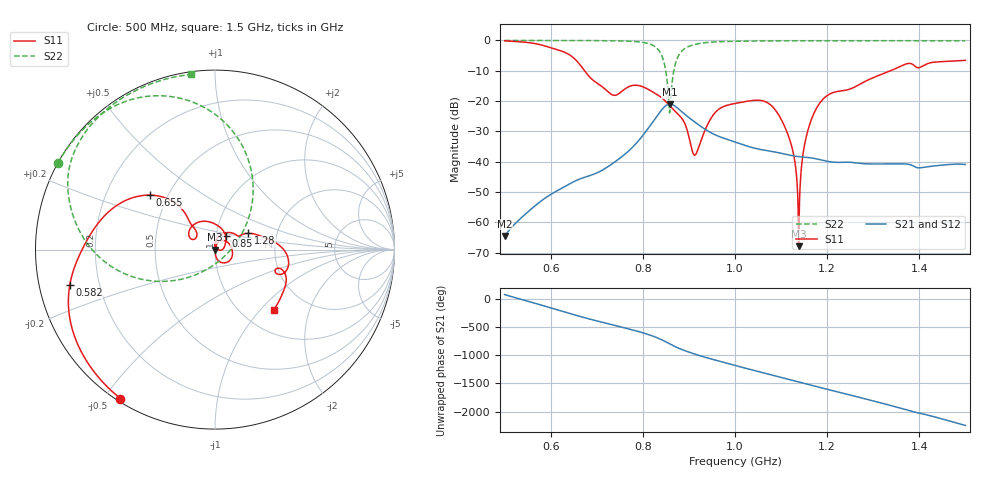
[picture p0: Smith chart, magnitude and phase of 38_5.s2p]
! TOUCHSTONE file generated by CST MICROWAVE STUDIO
! Date and time: Mon Oct 26 12:28:48 2020
! Project name: Scenario_1_Circular_Tissue_out_of_Line.cst
! Parameters = {dy1=295.617; L_HA=400; MT=2.54; Rad_Dielectric=30; Rad_Lower=7.3; Rad_Upper=30; a_HA=580; a_WG=246; b_HA=500; b_WG=121; c_HA=0; c_WG=187; d_feed=85; dx1=866; h_feed=15; h_lower=18; h_upper=40}
! Header version: 2018
! Port assignment regex: !\s*Touchstone port\s*([0-9]+)\s*=\s*(CST MWS port|CST DS port)\s*([0-9]+|Zmin|Zmax)\s*\(\"(.*)\"\)(\s*mode\s*([0-9]+))?.*
! Touchstone port assignment:
! Touchstone port 1 = CST MWS port 1 ("")
! Touchstone port 2 = CST MWS port 2 ("")
# GHz S DB R 50
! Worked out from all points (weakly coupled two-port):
!   1001 points, 500 MHz to 1.5 GHz, reference 50 ohm
!   highest |S21| = -21.01 dB at 859 MHz (marker M1); lowest = -64.5 dB at 500 MHz (marker M2)
!   lowest |S11| = -67.9 dB at 1.138 GHz (marker M3), VSWR 1.00, Z = 50 - j0.0375 ohm
!   |S11| at or under -10 dB: 673.6 MHz to 1.338 GHz (664.3 MHz wide, 66.1 % of centre)
!   |S22| runs from -23.9 to 0.0 dB; largest |S21 - S12| = 1.9e-05
!   S11 on the Smith chart (normalised r, x): 500 MHz: 0.01, -0.55; 582 MHz: 0.09, -0.12; 655 MHz: 0.40, +0.31; 850 MHz: 1.11, +0.17; 1.28 GHz: 1.43, +0.27; 1.5 GHz: 1.38, -1.19
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0.5  -0.15 -122.4  -64.48 80.4  -64.48 80.4  -0.01 151.1
0.582  -1.58 -166.2  -52.63 -113.4  -52.63 -113.4  -0.02 145.5
0.655  -6.51 140.0  -46.24 71.9  -46.24 71.9  -0.04 139.5
0.667  -8.67 131.9  -45.48 43.5  -45.48 43.5  -0.04 138.4
0.734  -17.97 143.4  -40.63 -96.4  -40.63 -96.4  -0.12 130.3
0.779  -14.82 138.4  -35.02 168.8  -35.02 168.8  -0.33 120.7
0.834  -18.16 74.1  -24.25 21.9  -24.25 21.9  -3.15 84.2
0.85  -20.21 53.0  -21.51 -40.5  -21.51 -40.5  -10.25 48.8
0.859  -21.67 42.5  -21.01 -79.8  -21.01 -79.8  -23.15 -74.6
0.877  -24.43 22.9  -22.52 -151.4  -22.52 -151.4  -5.16 -167.8
0.913  -37.84 34.3  -26.95 101.4  -26.95 101.4  -1.32 161.2
0.955  -24.15 54.8  -31.00 0.8  -31.00 0.8  -0.50 148.0
1  -20.79 7.6  -33.48 -99.2  -33.48 -99.2  -0.28 140.3
1.091  -23.66 -72.6  -36.92 66.9  -36.92 66.9  -0.13 130.6
1.123  -34.91 -83.7  -37.97 -0.7  -37.97 -0.7  -0.11 127.8
1.138  -67.86 -67.8  -38.31 -31.6  -38.31 -31.6  -0.10 126.5
1.151  -34.41 94.6  -38.50 -58.8  -38.50 -58.8  -0.10 125.5
1.167  -25.61 83.8  -38.78 -93.4  -38.78 -93.4  -0.10 124.2
1.2  -18.20 50.8  -39.86 -162.9  -39.86 -162.9  -0.09 121.7
1.28  -13.70 26.0  -40.66 31.6  -40.66 31.6  -0.08 115.6
1.334  -10.25 10.6  -40.68 -82.8  -40.68 -82.8  -0.09 111.5
1.5  -6.58 -45.6  -40.91 -85.9  -40.90 -86.0  -0.13 97.9
